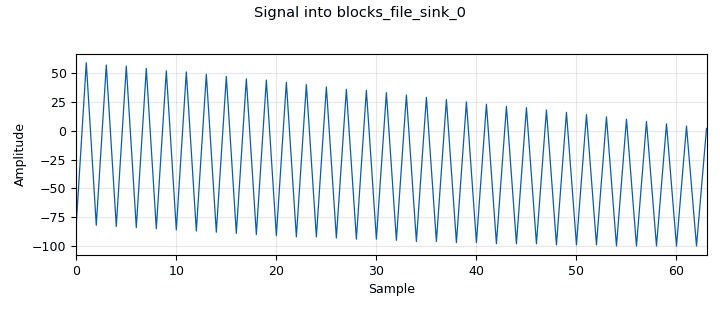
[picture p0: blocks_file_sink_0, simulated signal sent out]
<?xml version='1.0' encoding='utf-8'?>
<flow_graph>
<block>
<key>options</key>
<param><key>id</key><value>top_block</value></param>
<param><key>generate_options</key><value>wx_gui</value></param>
<param><key>category</key><value>Custom</value></param>
</block>
<block>
<key>variable</key>
<param><key>id</key><value>samp_rate</value></param>
<param><key>value</key><value>32000</value></param>
</block>
<block>
<key>blocks_throttle</key>
<param><key>id</key><value>blocks_throttle_0</value></param>
<param><key>type</key><value>complex</value></param>
<param><key>samples_per_second</key><value>samp_rate</value></param>
</block>
<block>
<key>blocks_complex_to_interleaved_short</key>
<param><key>id</key><value>blocks_complex_to_interleaved_short_0</value></param>
</block>
<block>
<key>blocks_file_sink</key>
<param><key>id</key><value>blocks_file_sink_0</value></param>
<param><key>file</key><value>test.dat</value></param>
<param><key>type</key><value>short</value></param>
</block>
<block>
<key>analog_sig_source_x</key>
<param><key>id</key><value>analog_sig_source_x_0</value></param>
<param><key>type</key><value>complex</value></param>
<param><key>samp_rate</key><value>samp_rate</value></param>
<param><key>waveform</key><value>analog.GR_COS_WAVE</value></param>
<param><key>freq</key><value>100</value></param>
<param><key>amp</key><value>100</value></param>
<param><key>offset</key><value>0</value></param>
</block>
<connection><source_block_id>analog_sig_source_x_0</source_block_id><sink_block_id>blocks_throttle_0</sink_block_id><source_key>0</source_key><sink_key>0</sink_key></connection>
<connection><source_block_id>blocks_throttle_0</source_block_id><sink_block_id>blocks_complex_to_interleaved_short_0</sink_block_id><source_key>0</source_key><sink_key>0</sink_key></connection>
<connection><source_block_id>blocks_complex_to_interleaved_short_0</source_block_id><sink_block_id>blocks_file_sink_0</sink_block_id><source_key>0</source_key><sink_key>0</sink_key></connection>
</flow_graph>
